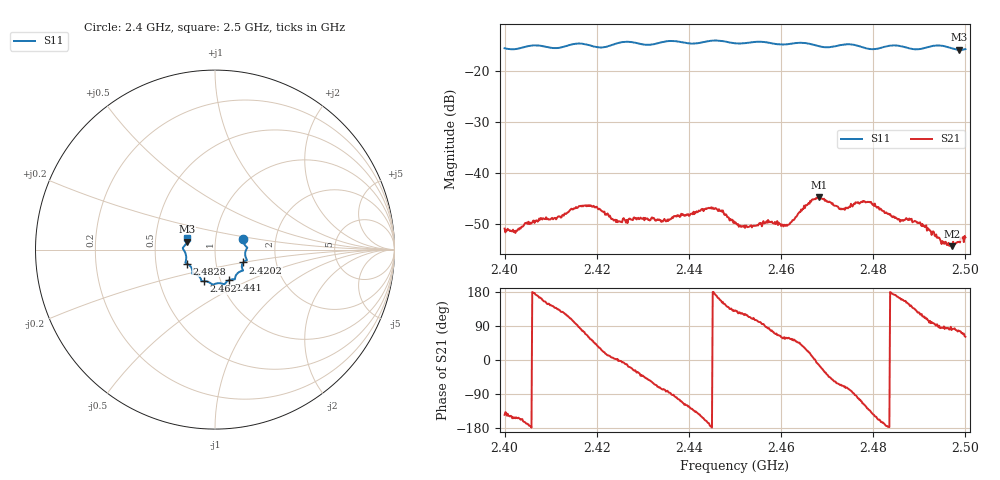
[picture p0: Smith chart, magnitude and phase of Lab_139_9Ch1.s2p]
# Hz S RI R 50
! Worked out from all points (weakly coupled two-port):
!   601 points, 2.4 GHz to 2.5 GHz, reference 50 ohm
!   highest |S21| = -44.66 dB at 2.4683 GHz (marker M1); lowest = -54.2 dB at 2.4972 GHz (marker M2)
!   lowest |S11| = -15.8 dB at 2.4987 GHz (marker M3), VSWR 1.39, Z = 36.3 + j3.26 ohm
!   |S11| at or under -10 dB: start of sweep to end of sweep
!   S12 and S22 are empty: the file has one direction only
!   S11 on the Smith chart (normalised r, x): 2.4 GHz: 1.36, +0.17; 2.4202 GHz: 1.36, -0.20; 2.441 GHz: 1.10, -0.39; 2.462 GHz: 0.83, -0.30; 2.4828 GHz: 0.72, -0.12; 2.5 GHz: 0.73, +0.09
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2.4e9  0.1573 0.0609  -0.00235 -0.00167  0 0  0 0
2.4025e9  0.1631 0.0316  -0.00242 -0.00132  0 0  0 0
2.416667e9  0.1774 -0.0592  0.000841 0.00468  0 0  0 0
2.420167e9  0.1569 -0.0719  0.00365 0.00273  0 0  0 0
2.425e9  0.155 -0.1132  0.00339 -0.000144  0 0  0 0
2.433333e9  0.1128 -0.1519  0.00116 -0.00329  0 0  0 0
2.441e9  0.0775 -0.1704  -0.00288 -0.00308  0 0  0 0
2.445333e9  0.0528 -0.1936  -0.00451 3.32e-05  0 0  0 0
2.45e9  0.0271 -0.1868  -0.00213 0.00248  0 0  0 0
2.452667e9  0.00191 -0.1902  -0.0014 0.00263  0 0  0 0
2.462e9  -0.0613 -0.1761  0.00187 0.00271  0 0  0 0
2.466667e9  -0.0774 -0.1674  0.00542 0.00102  0 0  0 0
2.468333e9  -0.0836 -0.1551  0.00565 -0.00152  0 0  0 0
2.473333e9  -0.1224 -0.1356  0.00169 -0.00414  0 0  0 0
2.479e9  -0.13 -0.104  -0.00344 -0.00395  0 0  0 0
2.482833e9  -0.1577 -0.0778  -0.00414 -0.000418  0 0  0 0
2.483333e9  -0.1606 -0.0764  -0.00403 -0.000241  0 0  0 0
2.489667e9  -0.1625 -0.0273  -0.0019 0.00271  0 0  0 0
2.495e9  -0.1779 0.0118  0.000184 0.00217  0 0  0 0
2.497167e9  -0.1658 0.0263  0.000264 0.00192  0 0  0 0
2.498667e9  -0.1569 0.0437  0.000522 0.0021  0 0  0 0
2.5e9  -0.1534 0.062  0.00113 0.00207  0 0  0 0
